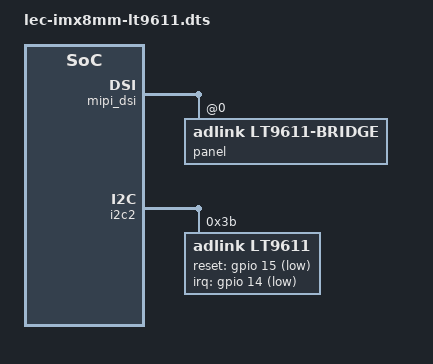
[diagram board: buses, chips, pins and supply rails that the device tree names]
/*
 *
 */


#include "lec-imx8mm.dts"

&mipi_dsi {
	status = "okay";
	panel@0 {
		compatible = "adlink,lt9611-bridge";
		reg = <0>;
		status = "okay";
	};
};

&i2c2 {
	lt9611@3b {
		compatible = "adlink,lt9611";
		reg = <0x3b>;
		reset-gpios = <&gpio 15 GPIO_ACTIVE_LOW>;
		irq-gpios = <&gpio 14 GPIO_ACTIVE_LOW>;
		status = "okay";
	};
};
